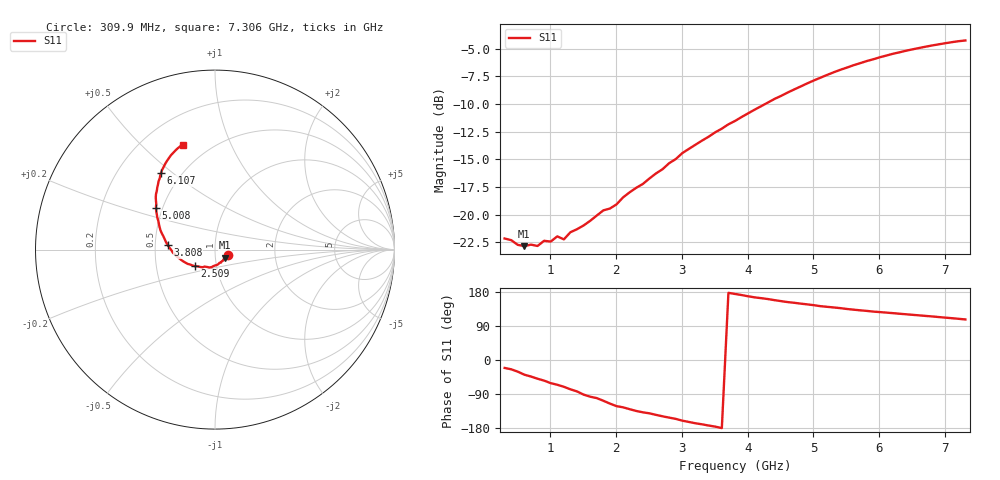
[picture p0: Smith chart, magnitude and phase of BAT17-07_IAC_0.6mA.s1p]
! Infineon Technologies  Discrete & RF Semiconductors
! BAT17-07
! IAC = 0.6 mA
! One-Port S-Parameters
# Hz  S  MA  R  50
!f  S11
!Hz  Mag  Ang
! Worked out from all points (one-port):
!   71 points, 309.9 MHz to 7.306 GHz, reference 50 ohm
!   lowest |S11| = -22.8 dB at 609.7 MHz (marker M1), VSWR 1.16, Z = 55.7 - j5.05 ohm
!   |S11| at or under -10 dB: start of sweep to 4.269 GHz
!   S11 on the Smith chart (normalised r, x): 309.9 MHz: 1.16, -0.06; 2.509 GHz: 0.79, -0.15; 3.808 GHz: 0.58, +0.03; 5.008 GHz: 0.46, +0.26; 6.107 GHz: 0.39, +0.46; 7.306 GHz: 0.36, +0.68
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3.0985e8  0.07808 -20.9
4.098e8  0.07675 -24.5
5.0975e8  0.07309 -30.8
6.097e8  0.07209 -38.8
7.0965e8  0.07326 -43.6
8.096e8  0.07222 -49.4
9.0955e8  0.07624 -54.4
1.0095e9  0.0756 -61.0
1.10945e9  0.07983 -65.4
1.2094e9  0.07736 -70.7
1.30935e9  0.08333 -77.4
1.50925e9  0.08941 -91.3
1.8091e9  0.1046 -107.6
1.90905e9  0.1066 -115.1
2.009e9  0.1113 -121.8
2.10895e9  0.1197 -124.9
2.50875e9  0.1457 -140.7
3.0085e9  0.1897 -160.1
3.50825e9  0.2355 -175.8
3.8081e9  0.2649 174.3
4.30785e9  0.3208 160.8
4.70765e9  0.3676 151.0
5.0075e9  0.4038 144.6
5.6072e9  0.4728 132.8
6.10695e9  0.5228 125.1
6.50675e9  0.5578 119.2
6.8066e9  0.5809 114.9
7.30635e9  0.6116 107.0
